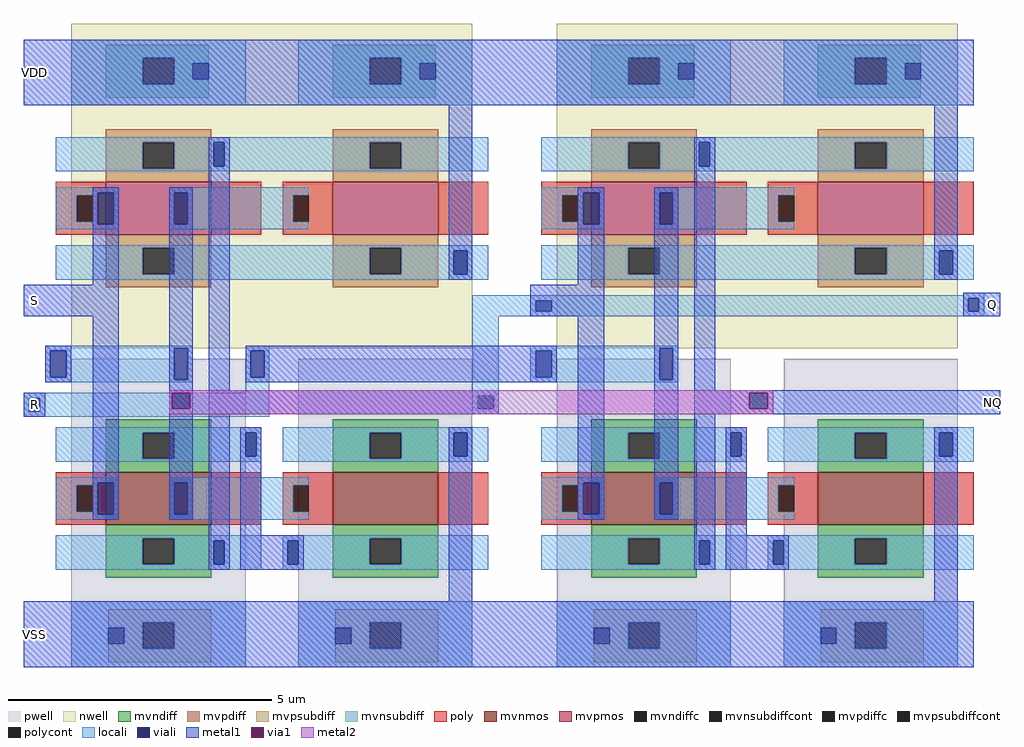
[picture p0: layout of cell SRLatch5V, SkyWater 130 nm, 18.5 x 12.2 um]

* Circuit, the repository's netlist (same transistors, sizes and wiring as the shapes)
* NGSPICE file created from SRLatch5V.ext - technology: sky130A

.subckt x5v_nfet_1_2 B D G S
X0 D G S B sky130_fd_pr__nfet_g5v0d10v5 ad=2 pd=6 as=2 ps=6 w=2 l=1
.ends

.subckt x5v_pfet_1_2 B D G S
X0 D G S B sky130_fd_pr__pfet_g5v0d10v5 ad=2 pd=6 as=2 ps=6 w=2 l=1
.ends

.subckt NAND5v A B VDD VSS Y
X5v_nfet_1_2_0 VSS Y A 5v_nfet_1_2_1/D x5v_nfet_1_2
X5v_nfet_1_2_1 VSS 5v_nfet_1_2_1/D B VSS x5v_nfet_1_2
X5v_pfet_1_2_0 VDD Y A VDD x5v_pfet_1_2
X5v_pfet_1_2_1 VDD Y B VDD x5v_pfet_1_2
.ends

.subckt SRLatch5V S R Q NQ VDD VSS
XNAND5v_0 Q R VDD VSS NQ NAND5v
XNAND5v_1 S NQ VDD VSS Q NAND5v
.ends

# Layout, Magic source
magic
tech sky130A
<< locali >>
rect 1740 705 1780 710
rect 810 700 1780 705
rect 810 695 1750 700
rect 810 675 930 695
rect 960 675 1750 695
rect 1770 675 1780 700
rect 810 665 1780 675
rect 380 600 425 610
rect 380 550 390 600
rect 415 550 425 600
rect 380 520 425 550
rect -40 510 425 520
rect -40 485 -30 510
rect -10 485 425 510
rect -40 475 425 485
rect 810 515 860 665
rect 810 490 820 515
rect 850 490 860 515
rect 810 480 860 490
<< viali >>
rect 930 675 960 695
rect 1750 675 1770 700
rect 390 550 415 600
rect -30 485 -10 510
rect 820 490 850 515
<< metal1 >>
rect -40 1065 0 1190
rect 810 1065 970 1190
rect -40 665 0 725
rect 1740 700 1810 710
rect 1740 675 1750 700
rect 1770 675 1810 700
rect 1740 665 1810 675
rect 380 600 970 610
rect 380 550 390 600
rect 415 550 970 600
rect 380 540 970 550
rect -40 510 0 520
rect -40 485 -30 510
rect -10 485 0 510
rect -40 475 0 485
rect 1780 480 1810 525
rect -40 0 0 125
rect 810 0 970 125
<< via1 >>
rect 240 490 275 520
rect 1335 490 1370 520
<< metal2 >>
rect 235 520 1380 525
rect 235 490 240 520
rect 275 490 1335 520
rect 1370 490 1380 520
rect 235 480 1380 490
use AND5v  AND5v_0
transform 1 0 20 0 1 0
box -20 0 840 1220
use AND5v  AND5v_1
transform 1 0 940 0 1 0
box -20 0 840 1220
<< labels >>
rlabel metal1 -40 665 0 725 7 S
port 1 w
rlabel metal1 -40 475 0 520 7 R
port 2 w
rlabel metal1 1780 665 1810 710 3 Q
port 3 e
rlabel metal1 1780 480 1810 525 3 NQ
port 4 e
rlabel metal1 -40 1065 0 1190 7 VDD
port 5 w
rlabel metal1 -40 0 0 125 7 VSS
port 6 w
<< end >>

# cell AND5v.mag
magic
tech sky130A
<< nwell >>
rect 30 605 790 1220
<< polycont >>
rect 40 845 70 895
rect 450 845 480 895
rect 40 295 70 345
rect 450 295 480 345
<< locali >>
rect 390 940 430 1005
rect 0 900 120 910
rect 0 895 80 900
rect 0 845 40 895
rect 70 845 80 895
rect 0 840 80 845
rect 110 840 120 900
rect 0 830 120 840
rect 215 900 480 910
rect 215 840 225 900
rect 250 895 480 900
rect 250 845 450 895
rect 250 840 480 845
rect 215 830 480 840
rect 390 735 430 800
rect -20 605 260 610
rect -20 600 225 605
rect -20 550 -10 600
rect 20 550 225 600
rect -20 545 225 550
rect 250 545 260 605
rect -20 540 260 545
rect 0 350 120 360
rect 0 345 80 350
rect 0 295 40 345
rect 70 295 80 345
rect 0 290 80 295
rect 110 290 120 350
rect 0 280 120 290
rect 215 350 480 360
rect 215 290 225 350
rect 250 345 480 350
rect 250 295 450 345
rect 250 290 480 295
rect 215 280 480 290
<< viali >>
rect 300 950 320 995
rect 80 840 110 900
rect 225 840 250 900
rect 755 745 780 790
rect -10 550 20 600
rect 225 545 250 605
rect 360 400 380 445
rect 755 400 780 445
rect 80 290 110 350
rect 225 290 250 350
rect 300 195 320 240
rect 440 195 460 240
<< metal1 >>
rect -20 1065 820 1190
rect 290 995 330 1005
rect 290 950 300 995
rect 320 950 330 995
rect 70 900 120 910
rect 70 840 80 900
rect 110 840 120 900
rect 70 725 120 840
rect -20 665 120 725
rect -20 600 30 610
rect -20 550 -10 600
rect 20 550 30 600
rect -20 540 30 550
rect 70 350 120 665
rect 70 290 80 350
rect 110 290 120 350
rect 70 280 120 290
rect 215 900 260 910
rect 215 840 225 900
rect 250 840 260 900
rect 215 605 260 840
rect 215 545 225 605
rect 250 545 260 605
rect 215 350 260 545
rect 215 290 225 350
rect 250 290 260 350
rect 215 280 260 290
rect 290 525 330 950
rect 745 790 790 1065
rect 745 745 755 790
rect 780 745 790 790
rect 745 735 790 745
rect 290 480 840 525
rect 290 240 330 480
rect 290 195 300 240
rect 320 195 330 240
rect 290 185 330 195
rect 350 445 390 455
rect 350 400 360 445
rect 380 400 390 445
rect 350 250 390 400
rect 745 445 790 455
rect 745 400 755 445
rect 780 400 790 445
rect 350 240 470 250
rect 350 195 440 240
rect 460 195 470 240
rect 350 185 470 195
rect 745 125 790 400
rect -20 0 820 125
use 5v_nfet_1_2  5v_nfet_1_2_0
transform 0 1 95 -1 0 370
box -215 -95 370 295
use 5v_nfet_1_2  5v_nfet_1_2_1
transform 0 1 525 -1 0 370
box -215 -95 370 295
use 5v_pfet_1_2  5v_pfet_1_2_0
transform 0 -1 295 1 0 820
box -215 -95 400 295
use 5v_pfet_1_2  5v_pfet_1_2_1
transform 0 -1 725 1 0 820
box -215 -95 400 295
<< labels >>
rlabel metal1 -20 665 0 725 7 A
port 1 w
rlabel metal1 -20 540 0 610 7 B
port 2 w
rlabel metal1 820 480 840 525 3 Y
port 3 e
rlabel metal1 -20 1065 0 1190 7 VDD
port 4 w
rlabel metal1 -20 0 0 125 7 VSS
port 5 w
<< end >>

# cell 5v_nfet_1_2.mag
magic
tech sky130A
<< pwell >>
rect -215 -65 370 265
<< mvnmos >>
rect 0 0 100 200
<< mvndiff >>
rect -100 130 0 200
rect -100 70 -75 130
rect -25 70 0 130
rect -100 0 0 70
rect 100 130 200 200
rect 100 70 125 130
rect 175 70 200 130
rect 100 0 200 70
<< mvndiffc >>
rect -75 70 -25 130
rect 125 70 175 130
<< mvpsubdiff >>
rect 260 130 360 200
rect 260 70 285 130
rect 335 70 360 130
rect 260 5 360 70
<< mvpsubdiffcont >>
rect 285 70 335 130
<< poly >>
rect 0 200 100 295
rect 0 -95 100 0
<< locali >>
rect -85 130 -20 295
rect -85 70 -75 130
rect -25 70 -20 130
rect -85 -95 -20 70
rect 120 130 185 295
rect 120 70 125 130
rect 175 70 185 130
rect 120 -95 185 70
rect 245 130 370 265
rect 245 70 285 130
rect 335 70 370 130
rect 245 35 370 70
rect 245 5 295 35
rect 325 5 370 35
rect 245 -65 370 5
<< viali >>
rect 295 5 325 35
<< metal1 >>
rect 245 35 370 295
rect 245 5 295 35
rect 325 5 370 35
rect 245 -95 370 5
<< labels >>
rlabel locali -55 260 -55 260 5 S
port 4 s
rlabel poly 55 260 55 260 5 G
port 3 s
rlabel locali 155 260 155 260 5 D
port 2 s
rlabel metal1 320 260 320 260 5 B
port 1 s
<< end >>

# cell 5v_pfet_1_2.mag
magic
tech sky130A
<< nwell >>
rect -215 -65 370 265
<< mvpmos >>
rect 0 0 100 200
<< mvpdiff >>
rect -100 130 0 200
rect -100 70 -75 130
rect -25 70 0 130
rect -100 0 0 70
rect 100 130 200 200
rect 100 70 125 130
rect 175 70 200 130
rect 100 0 200 70
<< mvpdiffc >>
rect -75 70 -25 130
rect 125 70 175 130
<< mvnsubdiff >>
rect 260 130 360 200
rect 260 70 285 130
rect 335 70 360 130
rect 260 5 360 70
<< mvnsubdiffcont >>
rect 285 70 335 130
<< poly >>
rect 0 200 100 295
rect 0 -95 100 0
<< locali >>
rect -85 130 -20 295
rect -85 70 -75 130
rect -25 70 -20 130
rect -85 -95 -20 70
rect 120 130 185 295
rect 120 70 125 130
rect 175 70 185 130
rect 120 -95 185 70
rect 245 130 370 265
rect 245 70 285 130
rect 335 70 370 130
rect 245 35 370 70
rect 245 5 295 35
rect 325 5 370 35
rect 245 -65 370 5
<< viali >>
rect 295 5 325 35
<< metal1 >>
rect 245 35 370 295
rect 245 5 295 35
rect 325 5 370 35
rect 245 -95 370 5
<< labels >>
rlabel locali -55 260 -55 260 5 S
port 4 s
rlabel poly 55 260 55 260 5 G
port 3 s
rlabel locali 155 260 155 260 5 D
port 2 s
rlabel metal1 320 260 320 260 5 B
port 1 s
<< end >>
